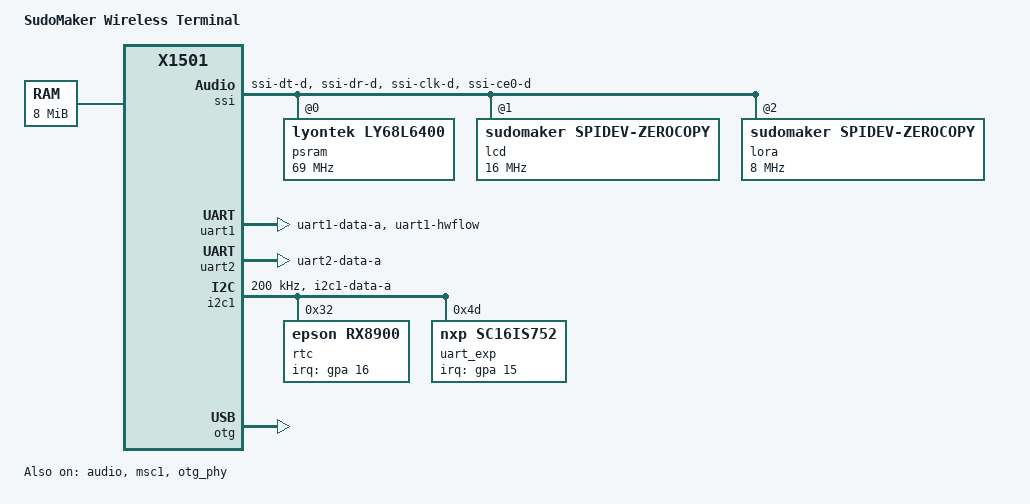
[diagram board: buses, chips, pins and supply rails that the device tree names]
// SPDX-License-Identifier: GPL-2.0
/dts-v1/;

#include "x1501.dtsi"
#include <dt-bindings/gpio/gpio.h>
#include <dt-bindings/input/input.h>
#include <dt-bindings/clock/ingenic,sysost.h>
#include <dt-bindings/interrupt-controller/irq.h>

/ {
	compatible = "sudomaker,wireless-terminal", "ingenic,x1501";
	model = "SudoMaker Wireless Terminal";

	aliases {
		serial2 = &uart2;
	};

	chosen {
		stdout-path = "serial2:115200n8";
	};

	memory {
		device_type = "memory";
		reg = <0x0 0x800000>;
	};

	clk_11059200: clock {
		compatible = "fixed-clock";
		#clock-cells = <0>;
		clock-frequency = <11059200>;
		clock-accuracy = <100>;
	};
};

&exclk {
	clock-frequency = <24000000>;
};

&cgu {
	assigned-clocks = <&cgu X1000_CLK_SSIMUX>, <&cgu X1000_CLK_RTC>;
	assigned-clock-parents = <&cgu X1000_CLK_SSIPLL_DIV2>, <&cgu X1000_CLK_EXCLK_DIV512>;
};

&ost {
	/* 1500 kHz for the system timer and clocksource */
	assigned-clocks = <&ost OST_CLK_EVENT_TIMER>, <&ost OST_CLK_GLOBAL_TIMER>;
	assigned-clock-rates = <1500000>, <1500000>;
};

&ssi {
	status = "okay";

	// MPLL = 552MHz
	assigned-clocks = <&cgu X1000_CLK_SSIPLL>;
	assigned-clock-rates = <276000000>;

	pinctrl-names = "default";
	pinctrl-0 = <&pins_spi0>;

	num-cs = <3>;
	cs-gpios = <0>, <&gpa 12 GPIO_ACTIVE_LOW>, <&gpa 11 GPIO_ACTIVE_LOW>;

	psram: ly68@0 {
		reg = <0>;
		compatible = "lyontek,ly68l6400";

		spi-max-frequency = <69000000>;
		lyontek,rx-max-frequency = <34500000>;
		// 85 degrees C rating
		lyontek,op-sleep-ratio = <30>;
		// 105 degrees C rating, but the plastic shell will melt?
		// lyontek,op-sleep-ratio = <8>;
	};

	lcd: uc1638@1 {
		reg = <1>;
		compatible = "sudomaker,spidev-zerocopy";

		spi-max-frequency = <16000000>;
	};

	lora: sx126x@2 {
		reg = <2>;
		compatible = "sudomaker,spidev-zerocopy";

		spi-max-frequency = <8000000>;
	};
};

&uart1 {
	status = "okay";

	pinctrl-names = "default";
	pinctrl-0 = <&pins_uart1>;
};

&uart2 {
	status = "okay";

	pinctrl-names = "default";
	pinctrl-0 = <&pins_uart2>;
};

&audio {
	status = "okay";
};

&i2c1 {
	status = "okay";

	clock-frequency = <200000>;

	pinctrl-names = "default";
	pinctrl-0 = <&pins_i2c1>;

	rtc: rx8900@32 {
		compatible = "epson,rx8900";
		reg = <0x32>;

		interrupt-parent = <&gpa>;
		interrupts = <16 IRQ_TYPE_EDGE_FALLING>;
		wakeup-source;

		epson,vdet-disable;
		trickle-diode-disable;
	};

	uart_exp: sc16is752@4d {
		compatible = "nxp,sc16is752";
		reg = <0x4d>;

		clocks = <&clk_11059200>;

		interrupt-parent = <&gpa>;
		interrupts = <15 IRQ_TYPE_EDGE_FALLING>;
		wakeup-source;

		gpio-controller;
		#gpio-cells = <2>;

		nxp,porta-as-gpio;
		nxp,portb-as-gpio;
	};
};

&msc1 {
	status = "okay";

	bus-width = <4>;
	max-frequency = <50000000>;

	pinctrl-names = "default";
	pinctrl-0 = <&pins_msc1>;

	non-removable;
};

&otg_phy {
	status = "okay";
};

&otg {
	status = "okay";
};

&pinctrl {
	pins_spi0: spi0 {
		function = "ssi";
		groups = "ssi-dt-d", "ssi-dr-d", "ssi-clk-d", "ssi-ce0-d";
		bias-disable;
	};

	pins_uart2: uart2 {
		function = "uart2";
		groups = "uart2-data-a";
		bias-pull-up;
	};

	pins_uart1: uart1 {
		function = "uart1";
		groups = "uart1-data-a", "uart1-hwflow";
		bias-pull-up;
	};

	pins_i2c1: i2c1 {
		function = "i2c1";
		groups = "i2c1-data-a";
		bias-pull-up;
	};

	pins_msc1: msc1 {
		function = "mmc1";
		groups = "mmc1-1bit", "mmc1-4bit";
		bias-pull-up;
	};

};
